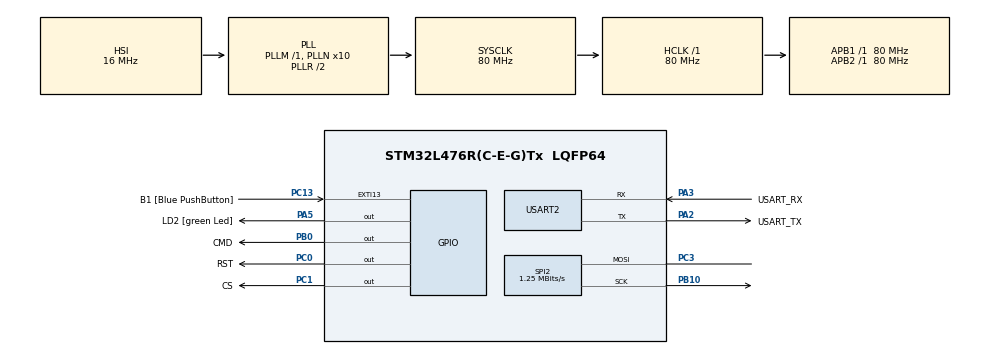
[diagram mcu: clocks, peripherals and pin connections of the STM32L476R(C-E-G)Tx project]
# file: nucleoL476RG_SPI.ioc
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Mcu.Family=STM32L4
Mcu.Name=STM32L476R(C-E-G)Tx
Mcu.Package=LQFP64
NVIC.PriorityGroup=NVIC_PRIORITYGROUP_4
PA13\ (JTMS-SWDIO).GPIO_Label=TMS
PA13\ (JTMS-SWDIO).Mode=Serial_Wire
PA13\ (JTMS-SWDIO).Signal=SYS_JTMS-SWDIO
PA14\ (JTCK-SWCLK).GPIO_Label=TCK
PA14\ (JTCK-SWCLK).Mode=Serial_Wire
PA14\ (JTCK-SWCLK).Signal=SYS_JTCK-SWCLK
PA2.GPIO_Label=USART_TX
PA2.GPIO_Mode=GPIO_MODE_AF_PP
PA2.GPIO_PuPd=GPIO_NOPULL
PA2.GPIO_Speed=GPIO_SPEED_FREQ_VERY_HIGH
PA2.Mode=Asynchronous
PA2.Signal=USART2_TX
PA3.GPIO_Label=USART_RX
PA3.GPIO_Mode=GPIO_MODE_AF_PP
PA3.GPIO_PuPd=GPIO_NOPULL
PA3.GPIO_Speed=GPIO_SPEED_FREQ_VERY_HIGH
PA3.Mode=Asynchronous
PA3.Signal=USART2_RX
PA5.GPIO_Label=LD2 [green Led]
PA5.GPIO_ModeDefaultOutputPP=GPIO_MODE_OUTPUT_PP
PA5.GPIO_PuPd=GPIO_NOPULL
PA5.GPIO_Speed=GPIO_SPEED_FREQ_LOW
PA5.Signal=GPIO_Output
PB0.GPIO_Label=CMD
PB0.Signal=GPIO_Output
PB10.Mode=Simplex_Bidirectional_Master
PB10.Signal=SPI2_SCK
PB3\ (JTDO-TRACESWO).GPIO_Label=SWO
PB3\ (JTDO-TRACESWO).Signal=SYS_JTDO-SWO
PC0.GPIO_Label=RST
PC0.Signal=GPIO_Output
PC1.GPIO_Label=CS
PC1.Signal=GPIO_Output
PC13.GPIO_Label=B1 [Blue PushButton]
PC13.GPIO_ModeDefaultEXTI=GPIO_MODE_IT_FALLING
PC13.GPIO_PuPd=GPIO_NOPULL
PC13.Signal=GPXTI13
PC14-OSC32_IN\ (PC14).Mode=LSE-External-Oscillator
PC14-OSC32_IN\ (PC14).Signal=RCC_OSC32_IN
PC15-OSC32_OUT\ (PC15).Mode=LSE-External-Oscillator
PC15-OSC32_OUT\ (PC15).Signal=RCC_OSC32_OUT
PC3.Mode=Simplex_Bidirectional_Master
PC3.Signal=SPI2_MOSI
PH0-OSC_IN\ (PH0).Signal=RCC_OSC_IN
PH1-OSC_OUT\ (PH1).Signal=RCC_OSC_OUT
ProjectManager.HeapSize=0x200
ProjectManager.StackSize=0x400
ProjectManager.TargetToolchain=STM32CubeIDE
RCC.ADCFreq_Value=64000000
RCC.AHBFreq_Value=80000000
RCC.APB1Freq_Value=80000000
RCC.APB1TimFreq_Value=80000000
RCC.APB2Freq_Value=80000000
RCC.APB2TimFreq_Value=80000000
RCC.CortexFreq_Value=80000000
RCC.HCLKFreq_Value=80000000
RCC.HSE_VALUE=8000000
RCC.HSI_VALUE=16000000
RCC.MSI_VALUE=4000000
RCC.PLLN=10
RCC.PLLSourceVirtual=RCC_PLLSOURCE_HSI
RCC.PREFETCH_ENABLE=1
RCC.SYSCLKFreq_VALUE=80000000
RCC.SYSCLKSource=RCC_SYSCLKSOURCE_PLLCLK
RCC.USBFreq_Value=64000000
RCC.VCOOutputFreq_Value=160000000
SPI2.BaudRatePrescaler=SPI_BAUDRATEPRESCALER_64
SPI2.CLKPolarity=SPI_POLARITY_HIGH
SPI2.CalculateBaudRate=1.25 MBits/s
SPI2.DataSize=SPI_DATASIZE_8BIT
SPI2.Direction=SPI_DIRECTION_1LINE
SPI2.Mode=SPI_MODE_MASTER
SPI2.VirtualType=VM_MASTER
USART2.VirtualMode-Asynchronous=VM_ASYNC
board=NUCLEO-L476RG

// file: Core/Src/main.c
/* USER CODE BEGIN Header */
/**
  ******************************************************************************
  * @file           : main.c
  * @brief          : Main program body
  ******************************************************************************
  * @attention
  *
  * Copyright (c) 2025 STMicroelectronics.
  * All rights reserved.
  *
  * This software is licensed under terms that can be found in the LICENSE file
  * in the root directory of this software component.
  * If no LICENSE file comes with this software, it is provided AS-IS.
  *
  ******************************************************************************
  */
/* USER CODE END Header */
#include "main.h"

/* USER CODE BEGIN Includes */
#include <stdio.h>
#include <string.h> /* memset */
#include <unistd.h> /* close */
#include "ILI9225.h"
/* USER CODE END Includes */

SPI_HandleTypeDef hspi2;

UART_HandleTypeDef huart2;

void SystemClock_Config(void);
static void MX_GPIO_Init(void);
static void MX_USART2_UART_Init(void);
static void MX_SPI2_Init(void);

int main(void)
{

  /* MCU Configuration--------------------------------------------------------*/

  /* Reset of all peripherals, Initializes the Flash interface and the Systick. */
  HAL_Init();

  /* Configure the system clock */
  SystemClock_Config();

  /* Initialize all configured peripherals */
  MX_GPIO_Init();
  MX_USART2_UART_Init();
  MX_SPI2_Init();
  /* USER CODE BEGIN 2 */

  uint8_t msg[35] = {'\0'};
  memset(msg, 0, 35);
  sprintf((char *)msg, "SPI Test starting ...\n");

  //uint8_t my_data = 0xAA;

  // Initialise the LCD
  lcd_init();

  // erase the entire screen
  fill_rectangle(0, 0, WIDTH, HEIGHT, COLOR_BLACK);

  //draw_string(0,  0, COLOR_WHITE, strlen((char *)msg), msg);

  //fill_rectangle(0, 0, 100, 100, COLOR_BLUE);

  /* USER CODE END 2 */

  /* Infinite loop */
  /* USER CODE BEGIN WHILE */
  int x = 50;
  int y = 50;
  int delta_x = 1;
    int delta_y = 1;
  while (1)
  {
	  // Blink the LED
	  HAL_GPIO_TogglePin(LD2_GPIO_Port, LD2_Pin);

	  // Output message over UART
	  //HAL_UART_Transmit(&huart2, msg, strlen((char *)msg), 100);

	  //draw_bitmap(0, 0, 1, sse_logo);

	  // erase the entire screen
	  //fill_rectangle(0, 0, WIDTH, HEIGHT, COLOR_BLACK);
	  //HAL_Delay(500);

	  // add new objects on top of a white screen
	  //fill_rectangle(40, 0, 20, 60, COLOR_BLUE);

	  //draw_line(0, 0, 100, 100, COLOR_WHITE);
	  //draw_string(0,  0, COLOR_WHITE, strlen((char *)msg), msg);

	  //fill_rectangle(x, 0, 100+x, 100, COLOR_BLUE);

	  // fill pixels with background color where the old
	  // character has been to erase stale pixels
	  fill_rectangle(x-2, y-2, x+12, y+12, COLOR_BLACK);

	  x += delta_x;
      y += delta_y;

      draw_fast_char(x, y, 'a', COLOR_BLUE, COLOR_WHITE);

	  if (x > (WIDTH-20)) {
		  delta_x = -1;
	  }
	  if (x < 10) {
		  delta_x = 1;
	  }

	  if (y > (HEIGHT-10)) {
    	  delta_y = -1;
	  }
	  if (y < 10) {
        delta_y = 1;
	  }

	  HAL_Delay(20);
	  //HAL_Delay(20);
    /* USER CODE END WHILE */

  }
}

void SystemClock_Config(void)
{
  RCC_OscInitTypeDef RCC_OscInitStruct = {0};
  RCC_ClkInitTypeDef RCC_ClkInitStruct = {0};

  /** Configure the main internal regulator output voltage
  */
  if (HAL_PWREx_ControlVoltageScaling(PWR_REGULATOR_VOLTAGE_SCALE1) != HAL_OK)
  {
    Error_Handler();
  }

  /** Initializes the RCC Oscillators according to the specified parameters
  * in the RCC_OscInitTypeDef structure.
  */
  RCC_OscInitStruct.OscillatorType = RCC_OSCILLATORTYPE_HSI;
  RCC_OscInitStruct.HSIState = RCC_HSI_ON;
  RCC_OscInitStruct.HSICalibrationValue = RCC_HSICALIBRATION_DEFAULT;
  RCC_OscInitStruct.PLL.PLLState = RCC_PLL_ON;
  RCC_OscInitStruct.PLL.PLLSource = RCC_PLLSOURCE_HSI;
  RCC_OscInitStruct.PLL.PLLM = 1;
  RCC_OscInitStruct.PLL.PLLN = 10;
  RCC_OscInitStruct.PLL.PLLP = RCC_PLLP_DIV7;
  RCC_OscInitStruct.PLL.PLLQ = RCC_PLLQ_DIV2;
  RCC_OscInitStruct.PLL.PLLR = RCC_PLLR_DIV2;
  if (HAL_RCC_OscConfig(&RCC_OscInitStruct) != HAL_OK)
  {
    Error_Handler();
  }

  /** Initializes the CPU, AHB and APB buses clocks
  */
  RCC_ClkInitStruct.ClockType = RCC_CLOCKTYPE_HCLK|RCC_CLOCKTYPE_SYSCLK
                              |RCC_CLOCKTYPE_PCLK1|RCC_CLOCKTYPE_PCLK2;
  RCC_ClkInitStruct.SYSCLKSource = RCC_SYSCLKSOURCE_PLLCLK;
  RCC_ClkInitStruct.AHBCLKDivider = RCC_SYSCLK_DIV1;
  RCC_ClkInitStruct.APB1CLKDivider = RCC_HCLK_DIV1;
  RCC_ClkInitStruct.APB2CLKDivider = RCC_HCLK_DIV1;

  if (HAL_RCC_ClockConfig(&RCC_ClkInitStruct, FLASH_LATENCY_4) != HAL_OK)
  {
    Error_Handler();
  }
}

static void MX_SPI2_Init(void)
{

  /* SPI2 parameter configuration*/
  hspi2.Instance = SPI2;
  hspi2.Init.Mode = SPI_MODE_MASTER;
  hspi2.Init.Direction = SPI_DIRECTION_1LINE;
  hspi2.Init.DataSize = SPI_DATASIZE_8BIT;
  hspi2.Init.CLKPolarity = SPI_POLARITY_HIGH;
  hspi2.Init.CLKPhase = SPI_PHASE_1EDGE;
  hspi2.Init.NSS = SPI_NSS_SOFT;
  hspi2.Init.BaudRatePrescaler = SPI_BAUDRATEPRESCALER_64;
  hspi2.Init.FirstBit = SPI_FIRSTBIT_MSB;
  hspi2.Init.TIMode = SPI_TIMODE_DISABLE;
  hspi2.Init.CRCCalculation = SPI_CRCCALCULATION_DISABLE;
  hspi2.Init.CRCPolynomial = 7;
  hspi2.Init.CRCLength = SPI_CRC_LENGTH_DATASIZE;
  hspi2.Init.NSSPMode = SPI_NSS_PULSE_ENABLE;
  if (HAL_SPI_Init(&hspi2) != HAL_OK)
  {
    Error_Handler();
  }

}

static void MX_USART2_UART_Init(void)
{

  huart2.Instance = USART2;
  huart2.Init.BaudRate = 115200;
  huart2.Init.WordLength = UART_WORDLENGTH_8B;
  huart2.Init.StopBits = UART_STOPBITS_1;
  huart2.Init.Parity = UART_PARITY_NONE;
  huart2.Init.Mode = UART_MODE_TX_RX;
  huart2.Init.HwFlowCtl = UART_HWCONTROL_NONE;
  huart2.Init.OverSampling = UART_OVERSAMPLING_16;
  huart2.Init.OneBitSampling = UART_ONE_BIT_SAMPLE_DISABLE;
  huart2.AdvancedInit.AdvFeatureInit = UART_ADVFEATURE_NO_INIT;
  if (HAL_UART_Init(&huart2) != HAL_OK)
  {
    Error_Handler();
  }

}

static void MX_GPIO_Init(void)
{
  GPIO_InitTypeDef GPIO_InitStruct = {0};

  /* GPIO Ports Clock Enable */
  __HAL_RCC_GPIOC_CLK_ENABLE();
  __HAL_RCC_GPIOH_CLK_ENABLE();
  __HAL_RCC_GPIOA_CLK_ENABLE();
  __HAL_RCC_GPIOB_CLK_ENABLE();

  /*Configure GPIO pin Output Level */
  HAL_GPIO_WritePin(GPIOC, RST_Pin|CS_Pin, GPIO_PIN_RESET);

  /*Configure GPIO pin Output Level */
  HAL_GPIO_WritePin(LD2_GPIO_Port, LD2_Pin, GPIO_PIN_RESET);

  /*Configure GPIO pin Output Level */
  HAL_GPIO_WritePin(CMD_GPIO_Port, CMD_Pin, GPIO_PIN_RESET);

  /*Configure GPIO pin : B1_Pin */
  GPIO_InitStruct.Pin = B1_Pin;
  GPIO_InitStruct.Mode = GPIO_MODE_IT_FALLING;
  GPIO_InitStruct.Pull = GPIO_NOPULL;
  HAL_GPIO_Init(B1_GPIO_Port, &GPIO_InitStruct);

  /*Configure GPIO pins : RST_Pin CS_Pin */
  GPIO_InitStruct.Pin = RST_Pin|CS_Pin;
  GPIO_InitStruct.Mode = GPIO_MODE_OUTPUT_PP;
  GPIO_InitStruct.Pull = GPIO_NOPULL;
  GPIO_InitStruct.Speed = GPIO_SPEED_FREQ_LOW;
  HAL_GPIO_Init(GPIOC, &GPIO_InitStruct);

  /*Configure GPIO pin : LD2_Pin */
  GPIO_InitStruct.Pin = LD2_Pin;
  GPIO_InitStruct.Mode = GPIO_MODE_OUTPUT_PP;
  GPIO_InitStruct.Pull = GPIO_NOPULL;
  GPIO_InitStruct.Speed = GPIO_SPEED_FREQ_LOW;
  HAL_GPIO_Init(LD2_GPIO_Port, &GPIO_InitStruct);

  /*Configure GPIO pin : CMD_Pin */
  GPIO_InitStruct.Pin = CMD_Pin;
  GPIO_InitStruct.Mode = GPIO_MODE_OUTPUT_PP;
  GPIO_InitStruct.Pull = GPIO_NOPULL;
  GPIO_InitStruct.Speed = GPIO_SPEED_FREQ_LOW;
  HAL_GPIO_Init(CMD_GPIO_Port, &GPIO_InitStruct);

}

void Error_Handler(void)
{
  __disable_irq();
  while (1)
  {
  }
}
